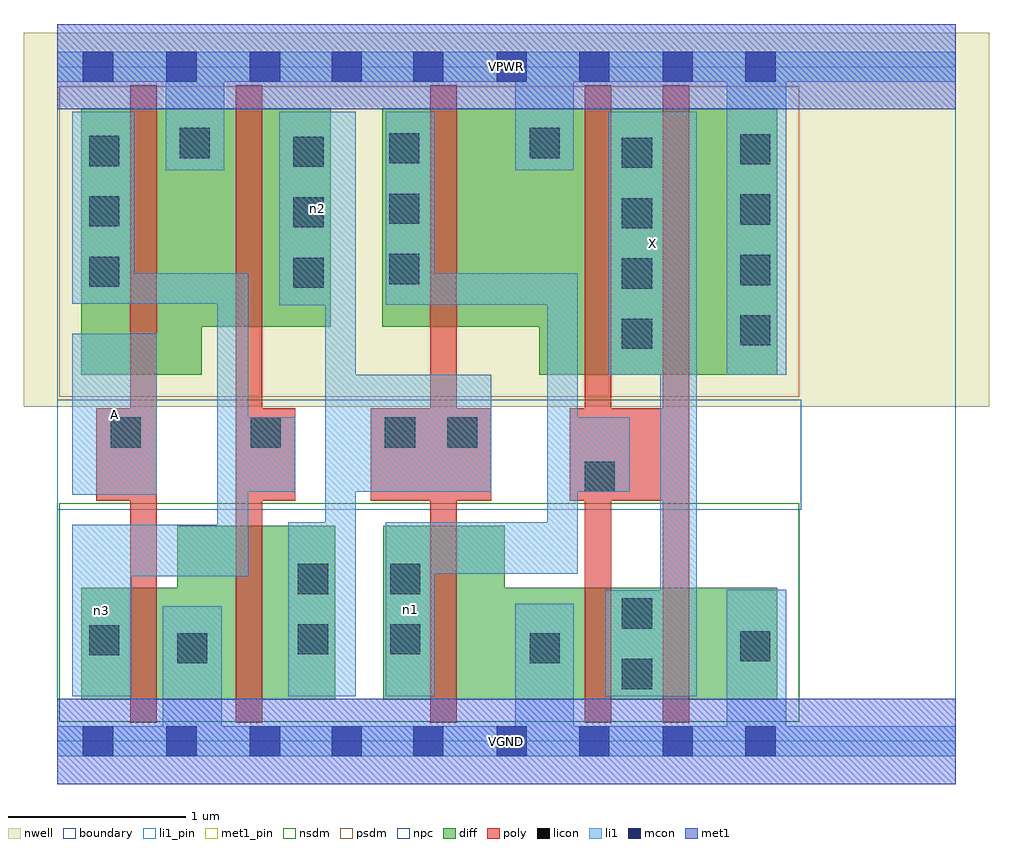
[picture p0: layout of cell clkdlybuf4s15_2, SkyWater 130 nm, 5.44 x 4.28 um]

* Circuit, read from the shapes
.subckt clkdlybuf4s15_2 A VGND VPWR X n1 n2 n3
XM1 VGND A n3 VSUBS sky130_fd_pr__nfet_01v8 w=0.63 l=0.15
XM2 n2 n3 VGND VSUBS sky130_fd_pr__nfet_01v8 w=0.98 l=0.15
XM3 VGND n2 n1 VSUBS sky130_fd_pr__nfet_01v8 w=0.98 l=0.15
XM4 X n1 VGND VSUBS sky130_fd_pr__nfet_01v8 w=0.63 l=0.15 m=2
XM5 VPWR A n3 n4 sky130_fd_pr__pfet_01v8 w=1.5 l=0.15
XM6 n2 n3 VPWR n4 sky130_fd_pr__pfet_01v8 w=1.23 l=0.15
XM7 VPWR n2 n1 n4 sky130_fd_pr__pfet_01v8 w=1.23 l=0.15
XM8 X n1 VPWR n4 sky130_fd_pr__pfet_01v8 w=1.5 l=0.15 m=2
.ends

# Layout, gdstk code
import gdstk
lib = gdstk.Library(unit=1e-6, precision=1e-09)
def R(c, l, rs):  # rectangles x0, y0, x1, y1
    for r in rs: c.add(gdstk.rectangle(r[:2], r[2:], *l))
def A(c, l, x, y, w, h, nx, ny, dx, dy):  # array of equal rectangles
    R(c, l, [(x+i*dx, y+j*dy, x+i*dx+w, y+j*dy+h) for i in range(nx) for j in range(ny)])
nwell = (64, 20)
diff = (65, 20)
poly = (66, 20)
licon = (66, 44)
li1_pin = (67, 16)
li1 = (67, 20)
mcon = (67, 44)
met1_pin = (68, 16)
met1 = (68, 20)
nsdm = (93, 44)
psdm = (94, 20)
npc = (95, 20)
boundary = (235, 4)

clkdlybuf4s15_2 = lib.new_cell('clkdlybuf4s15_2')
R(clkdlybuf4s15_2, nwell, [(-0.19,1.885,5.25,3.99), (0,1.885,5.06,3.99)])
R(clkdlybuf4s15_2, diff, [(0.135,0.235,1.565,0.865), (0.675,0.235,1.565,1.215), (1.835,0.235,4.055,0.865), (1.835,0.235,2.52,1.215), (0.135,2.065,0.815,3.565), (2.715,2.065,4.055,3.565), (0.135,2.335,1.54,3.565), (1.83,2.335,4.055,3.565)])
R(clkdlybuf4s15_2, poly, [(0.41,0.105,0.56,3.695), (1.005,0.105,1.155,3.695), (2.1,0.105,2.25,3.695), (2.97,0.105,3.12,3.695), (3.41,0.105,3.56,3.695), (0.22,1.355,0.56,1.875), (1.005,1.355,1.34,1.875), (1.765,1.355,2.445,1.875), (2.885,1.355,3.56,1.875)])
A(clkdlybuf4s15_2, licon, 3.18, 2.21, 0.17, 0.17, 1, 4, 0, 0.34)
A(clkdlybuf4s15_2, licon, 3.845, 2.23, 0.17, 0.17, 1, 4, 0, 0.34)
A(clkdlybuf4s15_2, licon, 1.33, 2.555, 0.17, 0.17, 1, 3, 0, 0.34)
A(clkdlybuf4s15_2, licon, 0.18, 2.56, 0.17, 0.17, 1, 3, 0, 0.34)
A(clkdlybuf4s15_2, licon, 1.87, 2.575, 0.17, 0.17, 1, 3, 0, 0.34)
R(clkdlybuf4s15_2, licon, [(3.18,0.295,3.35,0.465), (0.675,0.44,0.845,0.61), (2.66,0.44,2.83,0.61), (3.845,0.45,4.015,0.62), (0.18,0.485,0.35,0.655), (1.355,0.49,1.525,0.66), (1.875,0.49,2.045,0.66), (3.18,0.635,3.35,0.805), (1.355,0.83,1.525,1), (1.875,0.83,2.045,1), (2.97,1.405,3.14,1.575), (0.3,1.655,0.47,1.825), (1.09,1.655,1.26,1.825), (1.845,1.655,2.015,1.825), (2.195,1.655,2.365,1.825), (0.69,3.285,0.86,3.455), (2.66,3.285,2.83,3.455)])
R(clkdlybuf4s15_2, li1_pin, [(0.085,1.39,0.56,2.295), (3.105,2.065,3.6,3.545)])
R(clkdlybuf4s15_2, li1, [(0,-0.085,5.06,0.085), (0.595,-0.085,0.925,0.76), (2.58,-0.085,2.91,0.775), (3.77,-0.085,4.105,0.855), (0.085,0.255,0.42,1.22), (1.3,0.255,1.68,1.235), (1.51,0.255,1.68,3.545), (1.85,0.255,2.125,1.235), (3.085,0.255,3.6,0.85), (3.395,0.255,3.6,3.545), (0.085,0.93,1.075,1.22), (0.9,0.93,1.075,2.635), (1.85,0.945,2.93,1.235), (2.76,0.945,2.93,2.635), (0.085,1.39,0.56,2.295), (0.9,1.405,1.34,1.825), (1.51,1.405,2.445,2.065), (2.76,1.405,3.225,1.825), (3.105,2.065,3.6,3.545), (3.77,2.065,4.105,3.885), (1.25,2.455,1.68,3.545), (1.85,2.46,2.125,3.545), (1.85,2.46,2.93,2.635), (0.085,2.465,0.435,3.545), (0.085,2.465,1.075,2.635), (0.61,3.215,0.94,3.885), (2.58,3.215,2.91,3.885), (0,3.715,5.06,3.885)])
A(clkdlybuf4s15_2, mcon, 0.145, -0.085, 0.17, 0.17, 3, 2, 0.47, 3.8)
R(clkdlybuf4s15_2, mcon, [(1.545,-0.085,1.715,0.085), (2.005,-0.085,2.175,0.085), (2.475,-0.085,2.645,0.085), (2.94,-0.085,3.11,0.085), (3.41,-0.085,3.58,0.085), (3.875,-0.085,4.045,0.085), (1.545,3.715,1.715,3.885), (2.005,3.715,2.175,3.885), (2.475,3.715,2.645,3.885), (2.94,3.715,3.11,3.885), (3.41,3.715,3.58,3.885), (3.875,3.715,4.045,3.885)])
R(clkdlybuf4s15_2, met1_pin, [(0,-0.24,5.06,0.24), (0,3.56,5.06,4.04)])
R(clkdlybuf4s15_2, met1, [(0,-0.24,5.06,0.24), (0,3.56,5.06,4.04)])
R(clkdlybuf4s15_2, nsdm, [(0.01,0.11,4.18,1.34)])
R(clkdlybuf4s15_2, psdm, [(0.01,1.94,4.18,3.69)])
R(clkdlybuf4s15_2, npc, [(0,1.305,4.19,1.925)])
R(clkdlybuf4s15_2, boundary, [(0,0,5.06,3.8)])
clkdlybuf4s15_2.add(gdstk.Label('A', (0.322,1.842), layer=67, texttype=5))
clkdlybuf4s15_2.add(gdstk.Label('X', (3.352,2.805), layer=67, texttype=5))
clkdlybuf4s15_2.add(gdstk.Label('n3', (0.252,0.737), layer=67, texttype=5))
clkdlybuf4s15_2.add(gdstk.Label('n2', (1.465,3), layer=67, texttype=5))
clkdlybuf4s15_2.add(gdstk.Label('n1', (1.987,0.745), layer=67, texttype=5))
clkdlybuf4s15_2.add(gdstk.Label('VPWR', (2.53,3.8), layer=68, texttype=5))
clkdlybuf4s15_2.add(gdstk.Label('VGND', (2.53,0), layer=68, texttype=5))
clkdlybuf4s15_2.add(gdstk.Label('A', (0.322,1.842), layer=67, texttype=16))
clkdlybuf4s15_2.add(gdstk.Label('X', (3.352,2.805), layer=67, texttype=16))
clkdlybuf4s15_2.add(gdstk.Label('VPWR', (2.53,3.8), layer=68, texttype=16))
clkdlybuf4s15_2.add(gdstk.Label('VGND', (2.53,0), layer=68, texttype=16))

lib.write_gds('clkdlybuf4s15_2.gds')
